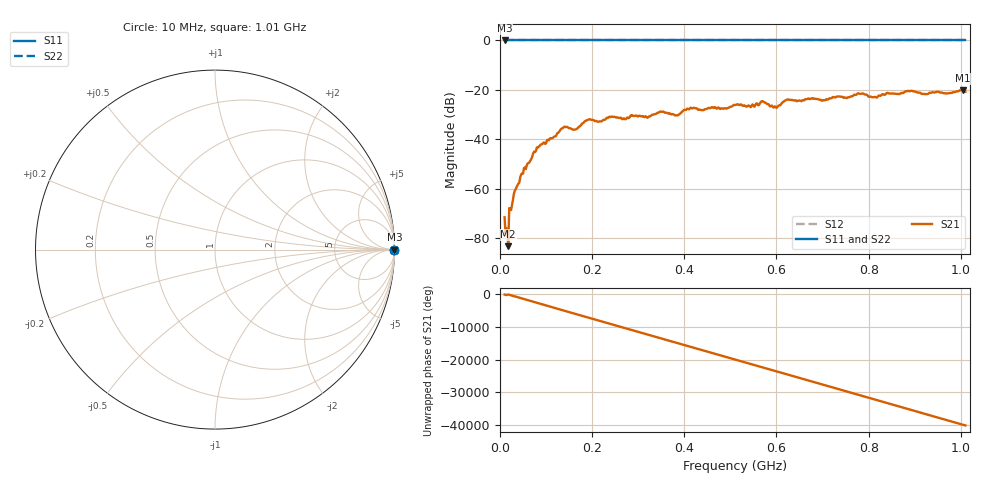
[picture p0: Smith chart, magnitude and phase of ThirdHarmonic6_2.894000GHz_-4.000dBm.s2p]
! 8/17/2025 7:58:31 AM
! C:\ANRITSUVNA\TEMP\TEMP.S2P
! CHANNEL.1
! TR.MEASUREMENT
! RAW.DATA
! RF.CORRECTION.OFF
! AVERAGING.OFF
! IF.BANDWIDTH: 5KHZ
! SWEEPTYPE:  FREQ.SWEEP(Linear)
! Reference Plane Port Info
! PORT:  PORT1  PORT2
! DISTANCE:  0  m  0  m
! TIME:  0  s  0  s
! PHASE.OFFSET:  0  deg.  0  deg.
! LOSS:  0  dB  0  dB
! REF.LOSS:  0  dB  0  dB
! REF.FREQ:  0  Hz  0  Hz
! Power Info
! POWER:  -20  dBm  -20  dBm
! EFF.POWER:  -20  dBm  -20  dBm
! SOURCE.ATTEN:  0  dB  0  dB
! TEST.ATTEN:  0  dB  0  dB
# GHZ S RI R 50.0
! FREQ.GHZ  S11RE  S11IM  S21RE  S21IM  S12RE  S12IM  S22RE  S22IM
!; PortSelection: Port_12
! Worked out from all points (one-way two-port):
!   501 points, 10 MHz to 1.01 GHz, reference 50 ohm
!   highest |S21| = -20.13 dB at 1.004 GHz (marker M1); lowest = -83.3 dB at 18 MHz (marker M2)
!   lowest |S11| = 0.0 dB at 10 MHz (marker M3)
!   |S11| at or under -10 dB: nowhere
!   |S22| runs from 0.0 to 0.0 dB; largest |S21 - S12| = 1.1
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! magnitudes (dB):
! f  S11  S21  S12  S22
! 10 MHz  0.0  -71.6  0.0  0.0
! 14 MHz  0.0  -76.1  0.0  0.0
! 18 MHz  0.0  -83.3  0.0  0.0
! 24 MHz  0.0  -68.7  0.0  0.0
! 34 MHz  0.0  -60.2  0.0  0.0
! 76 MHz  0.0  -45.2  0.0  0.0
! 136 MHz  0.0  -35.5  0.0  0.0
! 162 MHz  0.0  -36.1  0.0  0.0
! 178 MHz  0.0  -33.6  0.0  0.0
! 192 MHz  0.0  -32.0  0.0  0.0
! 322 MHz  0.0  -31.0  0.0  0.0
! 344 MHz  0.0  -29.3  0.0  0.0
! 384 MHz  0.0  -30.3  0.0  0.0
! 416 MHz  0.0  -27.5  0.0  0.0
! 510 MHz  0.0  -26.1  0.0  0.0
! 570 MHz  0.0  -24.6  0.0  0.0
! 598 MHz  0.0  -26.8  0.0  0.0
! 622 MHz  0.0  -24.0  0.0  0.0
! 678 MHz  0.0  -23.4  0.0  0.0
! 844 MHz  0.0  -21.5  0.0  0.0
! 1.004 GHz  0.0  -20.1  0.0  0.0
! 1.01 GHz  0.0  -20.8  0.0  0.0
